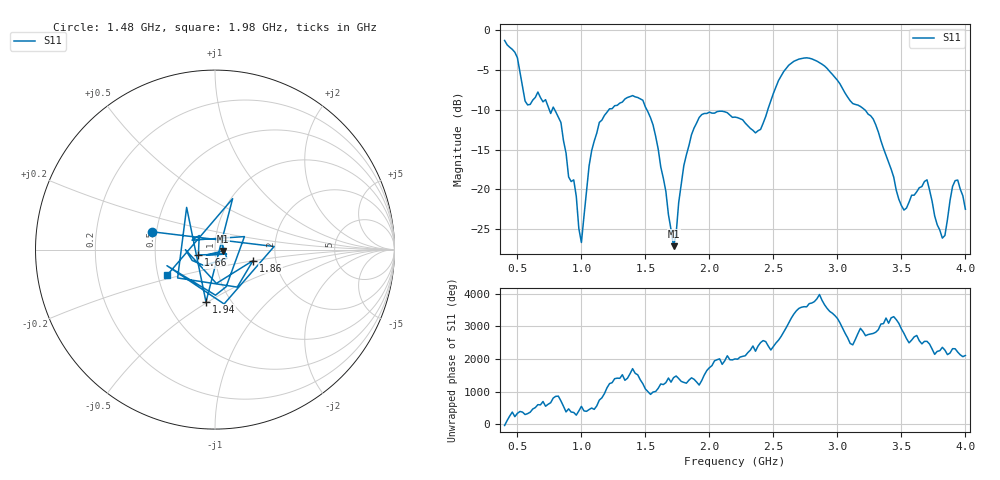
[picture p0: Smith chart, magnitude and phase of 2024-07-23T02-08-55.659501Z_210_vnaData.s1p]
!Created with skrf (http://scikit-rf.org).
# Hz S RI R 50.0
!freq ReS11 ImS11
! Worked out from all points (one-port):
!   181 points, 400 MHz to 4 GHz, reference 50 ohm
!   lowest |S11| = -27.1 dB at 1.72 GHz (marker M1), VSWR 1.09, Z = 54.5 - j0.863 ohm
!   |S11| at or under -10 dB: 791.6 MHz to 1.213 GHz (421.8 MHz wide, 42.1 % of centre); 1.512 GHz to 2.456 GHz (944 MHz wide, 47.6 % of centre); 3.215 GHz to end of sweep (the widest 3 of 4)
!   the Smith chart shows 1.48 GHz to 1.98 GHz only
!   S11 on the Smith chart (normalised r, x): 1.48 GHz: 0.47, +0.11; 1.66 GHz: 0.83, -0.05; 1.86 GHz: 1.52, -0.20; 1.94 GHz: 0.77, -0.49; 1.98 GHz: 0.56, -0.17
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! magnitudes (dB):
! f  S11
! 400 MHz  -1.3
! 500 MHz  -3.4
! 560 MHz  -8.9
! 780 MHz  -9.6
! 860 MHz  -13.9
! 940 MHz  -18.8
! 1 GHz  -26.7
! 1.06 GHz  -17.0
! 1.14 GHz  -11.6
! 1.3 GHz  -9.1
! 1.48 GHz  -8.8
! 1.66 GHz  -20.3
! 1.72 GHz  -27.1
! 1.76 GHz  -21.7
! 1.86 GHz  -13.1
! 1.94 GHz  -10.6
! 1.98 GHz  -10.4
! 2.2 GHz  -10.9
! 2.4 GHz  -12.4
! 2.66 GHz  -3.9
! 3.1 GHz  -8.8
! 3.28 GHz  -11.1
! 3.5 GHz  -22.0
! 3.56 GHz  -21.6
! 3.7 GHz  -18.8
! 3.82 GHz  -26.1
! 3.92 GHz  -18.9
! 4 GHz  -22.5
